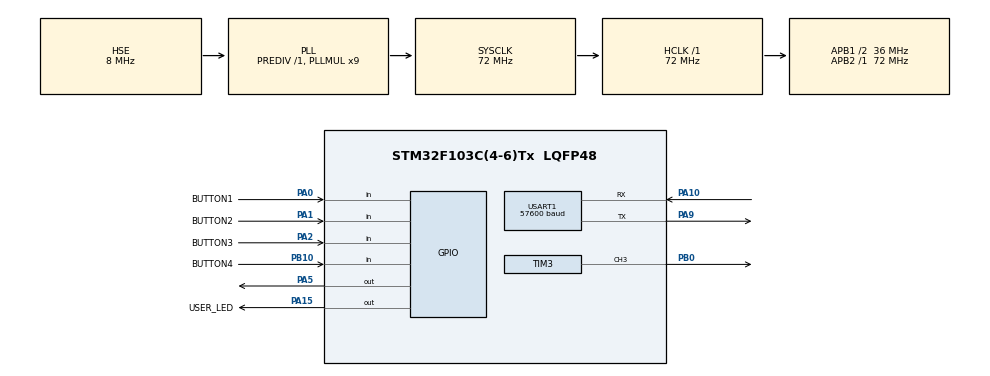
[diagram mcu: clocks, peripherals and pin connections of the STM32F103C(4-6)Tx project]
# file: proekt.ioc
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Mcu.Family=STM32F1
Mcu.Name=STM32F103C(4-6)Tx
Mcu.Package=LQFP48
NVIC.PriorityGroup=NVIC_PRIORITYGROUP_4
NVIC.RCC_IRQn=true\:0\:0\:false\:false\:true\:true\:false
NVIC.TIM3_IRQn=true\:0\:0\:false\:false\:true\:true\:true
NVIC.USART1_IRQn=true\:0\:0\:false\:false\:true\:true\:true
PA0-WKUP.GPIO_Label=BUTTON1
PA0-WKUP.Signal=GPIO_Input
PA1.GPIO_Label=BUTTON2
PA1.Signal=GPIO_Input
PA10.Mode=Asynchronous
PA10.Signal=USART1_RX
PA13.Mode=Trace_Asynchronous_SW
PA13.Signal=SYS_JTMS-SWDIO
PA14.Mode=Trace_Asynchronous_SW
PA14.Signal=SYS_JTCK-SWCLK
PA15.GPIO_Label=USER_LED
PA15.Signal=GPIO_Output
PA2.GPIO_Label=BUTTON3
PA2.GPIO_PuPd=GPIO_PULLUP
PA2.Signal=GPIO_Input
PA5.Signal=GPIO_Output
PA9.Mode=Asynchronous
PA9.Signal=USART1_TX
PB0.Signal=S_TIM3_CH3
PB10.GPIO_Label=BUTTON4
PB10.Signal=GPIO_Input
PB3.Mode=Trace_Asynchronous_SW
PB3.Signal=SYS_JTDO-TRACESWO
PD0-OSC_IN.Mode=HSE-External-Oscillator
PD0-OSC_IN.Signal=RCC_OSC_IN
PD1-OSC_OUT.Mode=HSE-External-Oscillator
PD1-OSC_OUT.Signal=RCC_OSC_OUT
ProjectManager.HeapSize=0x200
ProjectManager.StackSize=0x400
ProjectManager.TargetToolchain=TrueSTUDIO
RCC.AHBFreq_Value=72000000
RCC.APB1CLKDivider=RCC_HCLK_DIV2
RCC.APB1Freq_Value=36000000
RCC.APB1TimFreq_Value=72000000
RCC.APB2Freq_Value=72000000
RCC.APB2TimFreq_Value=72000000
RCC.HCLKFreq_Value=72000000
RCC.PLLMUL=RCC_PLL_MUL9
RCC.PLLSourceVirtual=RCC_PLLSOURCE_HSE
RCC.SYSCLKFreq_VALUE=72000000
RCC.SYSCLKSource=RCC_SYSCLKSOURCE_PLLCLK
RCC.USBFreq_Value=72000000
SH.S_TIM3_CH3.0=TIM3_CH3,PWM Generation3 CH3
TIM3.Channel-PWM\ Generation3\ CH3=TIM_CHANNEL_3
TIM3.Period=127
TIM3.Prescaler=10000
TIM3.Pulse-PWM\ Generation3\ CH3=0
USART1.BaudRate=57600
USART1.VirtualMode=VM_ASYNC
board=custom

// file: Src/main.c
/* USER CODE BEGIN Header */
/**
  ******************************************************************************
  * @file           : main.c
  * @brief          : Main program body
  ******************************************************************************
  ** This notice applies to any and all portions of this file
  * that are not between comment pairs USER CODE BEGIN and
  * USER CODE END. Other portions of this file, whether
  * inserted by the user or by software development tools
  * are owned by their respective copyright owners.
  *
  * COPYRIGHT(c) 2019 STMicroelectronics
  *
  * Redistribution and use in source and binary forms, with or without modification,
  * are permitted provided that the following conditions are met:
  *   1. Redistributions of source code must retain the above copyright notice,
  *      this list of conditions and the following disclaimer.
  *   2. Redistributions in binary form must reproduce the above copyright notice,
  *      this list of conditions and the following disclaimer in the documentation
  *      and/or other materials provided with the distribution.
  *   3. Neither the name of STMicroelectronics nor the names of its contributors
  *      may be used to endorse or promote products derived from this software
  *      without specific prior written permission.
  *
  * THIS SOFTWARE IS PROVIDED BY THE COPYRIGHT HOLDERS AND CONTRIBUTORS "AS IS"
  * AND ANY EXPRESS OR IMPLIED WARRANTIES, INCLUDING, BUT NOT LIMITED TO, THE
  * IMPLIED WARRANTIES OF MERCHANTABILITY AND FITNESS FOR A PARTICULAR PURPOSE ARE
  * DISCLAIMED. IN NO EVENT SHALL THE COPYRIGHT HOLDER OR CONTRIBUTORS BE LIABLE
  * FOR ANY DIRECT, INDIRECT, INCIDENTAL, SPECIAL, EXEMPLARY, OR CONSEQUENTIAL
  * DAMAGES (INCLUDING, BUT NOT LIMITED TO, PROCUREMENT OF SUBSTITUTE GOODS OR
  * SERVICES; LOSS OF USE, DATA, OR PROFITS; OR BUSINESS INTERRUPTION) HOWEVER
  * CAUSED AND ON ANY THEORY OF LIABILITY, WHETHER IN CONTRACT, STRICT LIABILITY,
  * OR TORT (INCLUDING NEGLIGENCE OR OTHERWISE) ARISING IN ANY WAY OUT OF THE USE
  * OF THIS SOFTWARE, EVEN IF ADVISED OF THE POSSIBILITY OF SUCH DAMAGE.
  *
  ******************************************************************************
  */
/* USER CODE END Header */

#include "main.h"

/* USER CODE BEGIN Includes */

#include "communication.h"
#include "flash.h"

/* USER CODE END Includes */

TIM_HandleTypeDef htim3;

UART_HandleTypeDef huart1;

/* USER CODE BEGIN PV */

uint8_t   receive_buf[RECEIVE_BUFFER_SIZE];
uint8_t   buf                =  0;
uint8_t   rx_counter         =  0;
uint8_t   pack_length        =  0;

uint32_t  prevTick           =  0;

bool      DMA_data_received  =  false;
bool      byte_received      =  false;
bool      TX_done            =  true;
bool      RX_error           =  false;

extern device_settings device_struct1;

/* USER CODE END PV */

void SystemClock_Config(void);
static void MX_GPIO_Init(void);
static void MX_USART1_UART_Init(void);
static void MX_TIM3_Init(void);

int main(void)
{

  /* MCU Configuration--------------------------------------------------------*/

  /* Reset of all peripherals, Initializes the Flash interface and the Systick. */
  HAL_Init();

  /* Configure the system clock */
  SystemClock_Config();

  /* Initialize all configured peripherals */
  MX_GPIO_Init();
  MX_USART1_UART_Init();
  MX_TIM3_Init();

  /* Infinite loop */
  /* USER CODE BEGIN WHILE */
  HAL_TIM_PWM_Start(&htim3,  TIM_CHANNEL_3);

  HAL_GPIO_WritePin(USER_LED_GPIO_Port,  USER_LED_Pin,  SET);
  HAL_Delay(500);
  HAL_GPIO_WritePin(USER_LED_GPIO_Port,  USER_LED_Pin,  RESET);
  HAL_Delay(500);
  HAL_GPIO_WritePin(USER_LED_GPIO_Port,  USER_LED_Pin,  SET);
  HAL_Delay(500);
  HAL_GPIO_WritePin(USER_LED_GPIO_Port,  USER_LED_Pin,  RESET);

  FLASH_ReadSettings(&device_struct1);

  if (device_struct1.device_adress  >  0x08)  {  /*Для первой прошивки*/
	  device_struct1.device_adress  =  0x00;
  }

  HAL_UART_Receive_IT(&huart1,  &buf,  1);

  while (1)
  {
    /* USER CODE END WHILE */

    /* USER CODE BEGIN 3 */

      if (byte_received)  {
		  byte_received  =  false;
		  rx_counter++;
	      if (rx_counter  ==  1)  {
	    	  receive_buf[rx_counter  -  1]  =  buf;
		      prevTick  =  HAL_GetTick();
		      HAL_UART_Receive_IT(&huart1,  &buf,  1);
		  }

	      if (rx_counter  ==  2)  {
	    	  receive_buf[rx_counter  -  1]  =  buf;
	    	  switch (buf) {
	    	  case    DEVICE_REQUEST_TYPE:
	    		  pack_length  =  DEVICES_REQUEST_LENGTH;
	    		  break;
	    	  case    CONFIG_REQUEST_TYPE:
	    		  pack_length  =  CONFIG_REQUEST_LENGTH;
	    		  break;
	    	  default:
	    	      {
	    		  RX_error  =  true;
	    		  HAL_UART_Receive_IT(&huart1,  &buf,  1);
	    		  break;
	    	      }
	    	  }
	    	  HAL_UART_Receive_IT(&huart1, receive_buf + 2, pack_length - 2);
	      }

	      if (rx_counter == 3) {
			  switch (pack_length) {
			  case DEVICES_REQUEST_LENGTH:
				  if (parse_device_package(&device_struct1,  receive_buf)) {
					  TX_done   =  false;
					  device_response(&device_struct1);
					  HAL_UART_Receive_IT(&huart1,  &buf,  1);
				  } else {
					  RX_error  =  1;
			      }
				  break;
			  case CONFIG_REQUEST_LENGTH:
			      {
				  uint8_t OldAdress  =  device_struct1.device_adress;
				  if (parse_config_package(&device_struct1,  receive_buf)) {
					  if (device_struct1.device_adress  !=  OldAdress) {
						  FLASH_WriteSettings(&device_struct1);
						  HAL_UART_Receive_IT(&huart1,  &buf,  1);
					  }
				  } else {
					  RX_error  =  1;
				  }
				  break;
			      }
			  }
	      }
	  }

	  if (HAL_GetTick()  -  prevTick  >=  RECEIVE_TIMEOUT) {
		  HAL_UART_AbortReceive(&huart1);
		  RX_error  =  1;
	  }

	  if (RX_error) {
		  RX_error    =  false;
		  rx_counter  =  0;
		  HAL_UART_Receive_IT(&huart1,  &buf,  1);
	  }
  }
  /* USER CODE END 3 */
}

void SystemClock_Config(void)
{
  RCC_OscInitTypeDef RCC_OscInitStruct = {0};
  RCC_ClkInitTypeDef RCC_ClkInitStruct = {0};

  /** Initializes the CPU, AHB and APB busses clocks
  */
  RCC_OscInitStruct.OscillatorType = RCC_OSCILLATORTYPE_HSE;
  RCC_OscInitStruct.HSEState = RCC_HSE_ON;
  RCC_OscInitStruct.HSEPredivValue = RCC_HSE_PREDIV_DIV1;
  RCC_OscInitStruct.HSIState = RCC_HSI_ON;
  RCC_OscInitStruct.PLL.PLLState = RCC_PLL_ON;
  RCC_OscInitStruct.PLL.PLLSource = RCC_PLLSOURCE_HSE;
  RCC_OscInitStruct.PLL.PLLMUL = RCC_PLL_MUL9;
  if (HAL_RCC_OscConfig(&RCC_OscInitStruct) != HAL_OK)
  {
    Error_Handler();
  }
  /** Initializes the CPU, AHB and APB busses clocks
  */
  RCC_ClkInitStruct.ClockType = RCC_CLOCKTYPE_HCLK|RCC_CLOCKTYPE_SYSCLK
                              |RCC_CLOCKTYPE_PCLK1|RCC_CLOCKTYPE_PCLK2;
  RCC_ClkInitStruct.SYSCLKSource = RCC_SYSCLKSOURCE_PLLCLK;
  RCC_ClkInitStruct.AHBCLKDivider = RCC_SYSCLK_DIV1;
  RCC_ClkInitStruct.APB1CLKDivider = RCC_HCLK_DIV2;
  RCC_ClkInitStruct.APB2CLKDivider = RCC_HCLK_DIV1;

  if (HAL_RCC_ClockConfig(&RCC_ClkInitStruct, FLASH_LATENCY_2) != HAL_OK)
  {
    Error_Handler();
  }
}

static void MX_TIM3_Init(void)
{

  TIM_MasterConfigTypeDef sMasterConfig = {0};
  TIM_OC_InitTypeDef sConfigOC = {0};

  htim3.Instance = TIM3;
  htim3.Init.Prescaler = 10000;
  htim3.Init.CounterMode = TIM_COUNTERMODE_UP;
  htim3.Init.Period = 127;
  htim3.Init.ClockDivision = TIM_CLOCKDIVISION_DIV1;
  htim3.Init.AutoReloadPreload = TIM_AUTORELOAD_PRELOAD_DISABLE;
  if (HAL_TIM_PWM_Init(&htim3) != HAL_OK)
  {
    Error_Handler();
  }
  sMasterConfig.MasterOutputTrigger = TIM_TRGO_RESET;
  sMasterConfig.MasterSlaveMode = TIM_MASTERSLAVEMODE_DISABLE;
  if (HAL_TIMEx_MasterConfigSynchronization(&htim3, &sMasterConfig) != HAL_OK)
  {
    Error_Handler();
  }
  sConfigOC.OCMode = TIM_OCMODE_PWM1;
  sConfigOC.Pulse = 0;
  sConfigOC.OCPolarity = TIM_OCPOLARITY_HIGH;
  sConfigOC.OCFastMode = TIM_OCFAST_DISABLE;
  if (HAL_TIM_PWM_ConfigChannel(&htim3, &sConfigOC, TIM_CHANNEL_3) != HAL_OK)
  {
    Error_Handler();
  }
  HAL_TIM_MspPostInit(&htim3);

}

static void MX_USART1_UART_Init(void)
{

  huart1.Instance = USART1;
  huart1.Init.BaudRate = 57600;
  huart1.Init.WordLength = UART_WORDLENGTH_8B;
  huart1.Init.StopBits = UART_STOPBITS_1;
  huart1.Init.Parity = UART_PARITY_NONE;
  huart1.Init.Mode = UART_MODE_TX_RX;
  huart1.Init.HwFlowCtl = UART_HWCONTROL_NONE;
  huart1.Init.OverSampling = UART_OVERSAMPLING_16;
  if (HAL_UART_Init(&huart1) != HAL_OK)
  {
    Error_Handler();
  }

}

static void MX_GPIO_Init(void)
{
  GPIO_InitTypeDef GPIO_InitStruct = {0};

  /* GPIO Ports Clock Enable */
  __HAL_RCC_GPIOD_CLK_ENABLE();
  __HAL_RCC_GPIOA_CLK_ENABLE();
  __HAL_RCC_GPIOB_CLK_ENABLE();

  /*Configure GPIO pin Output Level */
  HAL_GPIO_WritePin(GPIOA, GPIO_PIN_5|USER_LED_Pin, GPIO_PIN_RESET);

  /*Configure GPIO pins : BUTTON1_Pin BUTTON2_Pin */
  GPIO_InitStruct.Pin = BUTTON1_Pin|BUTTON2_Pin;
  GPIO_InitStruct.Mode = GPIO_MODE_INPUT;
  GPIO_InitStruct.Pull = GPIO_NOPULL;
  HAL_GPIO_Init(GPIOA, &GPIO_InitStruct);

  /*Configure GPIO pin : BUTTON3_Pin */
  GPIO_InitStruct.Pin = BUTTON3_Pin;
  GPIO_InitStruct.Mode = GPIO_MODE_INPUT;
  GPIO_InitStruct.Pull = GPIO_PULLUP;
  HAL_GPIO_Init(BUTTON3_GPIO_Port, &GPIO_InitStruct);

  /*Configure GPIO pins : PA5 USER_LED_Pin */
  GPIO_InitStruct.Pin = GPIO_PIN_5|USER_LED_Pin;
  GPIO_InitStruct.Mode = GPIO_MODE_OUTPUT_PP;
  GPIO_InitStruct.Pull = GPIO_NOPULL;
  GPIO_InitStruct.Speed = GPIO_SPEED_FREQ_LOW;
  HAL_GPIO_Init(GPIOA, &GPIO_InitStruct);

  /*Configure GPIO pin : BUTTON4_Pin */
  GPIO_InitStruct.Pin = BUTTON4_Pin;
  GPIO_InitStruct.Mode = GPIO_MODE_INPUT;
  GPIO_InitStruct.Pull = GPIO_NOPULL;
  HAL_GPIO_Init(BUTTON4_GPIO_Port, &GPIO_InitStruct);

}

void Error_Handler(void)
{
}

/************************ (C) COPYRIGHT STMicroelectronics *****END OF FILE****/
